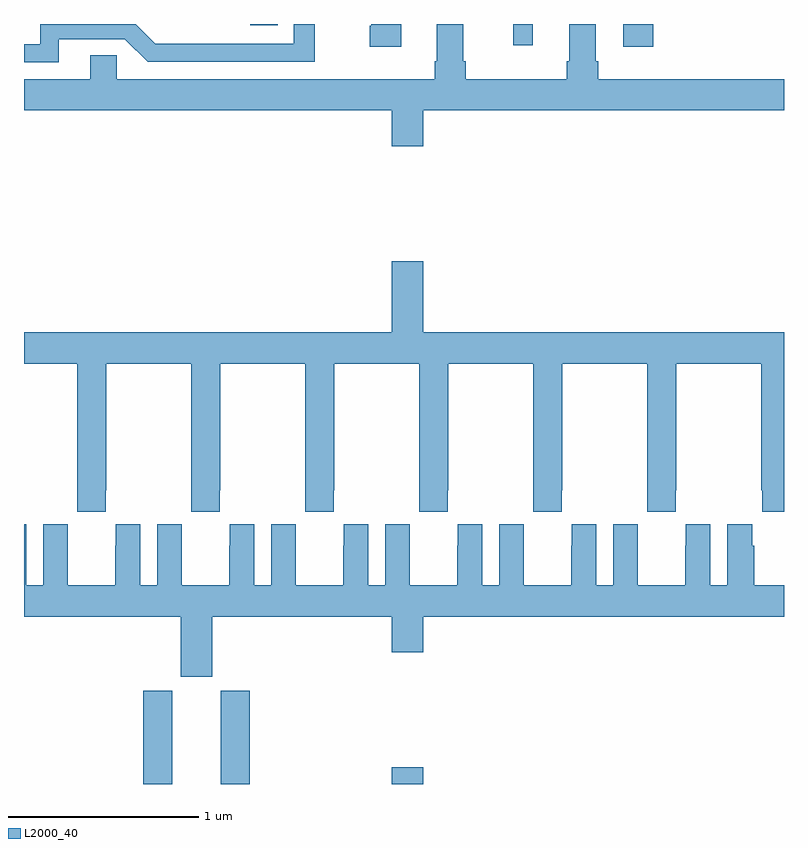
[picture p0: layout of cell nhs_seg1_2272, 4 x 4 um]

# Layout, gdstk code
import gdstk
lib = gdstk.Library(unit=1e-6, precision=1e-09)
def R(c, l, rs):  # rectangles x0, y0, x1, y1
    for r in rs: c.add(gdstk.rectangle(r[:2], r[2:], *l))
def P(c, l, *ps):  # polygons
    for p in ps: c.add(gdstk.Polygon(p, *l))
L2000_40 = (2000, 40)

nhs_seg1_2272 = lib.new_cell('nhs_seg1_2272')
R(nhs_seg1_2272, L2000_40, [(235.628,536.199,235.78,536.691), (236.036,536.199,236.189,536.691), (236.936,536.199,237.1,536.287), (238.154,540.078,238.313,540.199), (237.574,540.087,237.677,540.199), (236.19,540.192,236.336,540.199)])
P(nhs_seg1_2272, L2000_40, [(237.1,539.744),(239,539.744),(239,539.908),(238.022,539.908),(238.022,540.004),(238.009,540.004),(238.009,540.199),(237.869,540.199),(237.869,540.004),(237.857,540.004),(237.857,539.908),(237.326,539.908),(237.326,540.004),(237.313,540.004),(237.313,540.199),(237.173,540.199),(237.173,540.004),(237.161,540.004),(237.161,539.908),(235.488,539.908),(235.488,540.035),(235.349,540.035),(235.349,539.908),(235,539.908),(235,539.744),(236.936,539.744),(236.936,539.556),(237.1,539.556)],
  [(235.183,540.12),(235.53,540.12),(235.65,540),(236.53,540),(236.53,540.199),(236.421,540.199),(236.421,540.096),(235.692,540.096),(235.589,540.199),(235.086,540.199),(235.086,540.093),(235,540.093),(235,539.997),(235.183,539.997)],
  [(236.986,540.199),(236.828,540.199),(236.828,540.19),(236.821,540.19),(236.821,540.078),(236.986,540.078)],
  [(235.431,537.745),(235.434,537.745),(235.434,538.412),(235.879,538.412),(235.879,537.745),(235.881,537.745),(235.881,537.633),(236.031,537.633),(236.031,537.745),(236.034,537.745),(236.034,538.412),(236.479,538.412),(236.479,537.745),(236.481,537.745),(236.481,537.633),(236.631,537.633),(236.631,537.745),(236.634,537.745),(236.634,538.412),(237.079,538.412),(237.079,537.745),(237.081,537.745),(237.081,537.633),(237.231,537.633),(237.231,537.745),(237.234,537.745),(237.234,538.412),(237.679,538.412),(237.679,537.745),(237.681,537.745),(237.681,537.633),(237.831,537.633),(237.831,537.745),(237.834,537.745),(237.834,538.412),(238.279,538.412),(238.279,537.745),(238.281,537.745),(238.281,537.633),(238.431,537.633),(238.431,537.745),(238.434,537.745),(238.434,538.412),(238.879,538.412),(238.879,537.745),(238.885,537.745),(238.885,537.633),(239,537.633),(239,538.576),(237.1,538.576),(237.1,538.951),(236.936,538.951),(236.936,538.576),(235,538.576),(235,538.412),(235.279,538.412),(235.279,537.745),(235.281,537.745),(235.281,537.633),(235.431,537.633)],
  [(235.99,537.08),(236.936,537.08),(236.936,536.892),(237.1,536.892),(237.1,537.08),(239,537.08),(239,537.244),(238.844,537.244),(238.844,537.452),(238.834,537.452),(238.834,537.565),(238.7,537.565),(238.7,537.244),(238.612,537.244),(238.612,537.565),(238.482,537.565),(238.482,537.452),(238.481,537.452),(238.481,537.244),(238.231,537.244),(238.231,537.452),(238.23,537.452),(238.23,537.565),(238.1,537.565),(238.1,537.244),(238.012,537.244),(238.012,537.565),(237.882,537.565),(237.882,537.452),(237.881,537.452),(237.881,537.244),(237.631,537.244),(237.631,537.452),(237.63,537.452),(237.63,537.565),(237.5,537.565),(237.5,537.244),(237.412,537.244),(237.412,537.565),(237.282,537.565),(237.282,537.452),(237.281,537.452),(237.281,537.244),(237.031,537.244),(237.031,537.452),(237.03,537.452),(237.03,537.565),(236.9,537.565),(236.9,537.244),(236.812,537.244),(236.812,537.565),(236.682,537.565),(236.682,537.452),(236.681,537.452),(236.681,537.244),(236.431,537.244),(236.431,537.452),(236.43,537.452),(236.43,537.565),(236.3,537.565),(236.3,537.244),(236.212,537.244),(236.212,537.565),(236.082,537.565),(236.082,537.452),(236.081,537.452),(236.081,537.244),(235.831,537.244),(235.831,537.452),(235.83,537.452),(235.83,537.565),(235.7,537.565),(235.7,537.244),(235.612,537.244),(235.612,537.565),(235.482,537.565),(235.482,537.452),(235.481,537.452),(235.481,537.244),(235.231,537.244),(235.231,537.452),(235.23,537.452),(235.23,537.565),(235.1,537.565),(235.1,537.244),(235.012,537.244),(235.012,537.565),(235,537.565),(235,537.08),(235.826,537.08),(235.826,536.763),(235.99,536.763)])

lib.write_gds('nhs_seg1_2272.gds')
